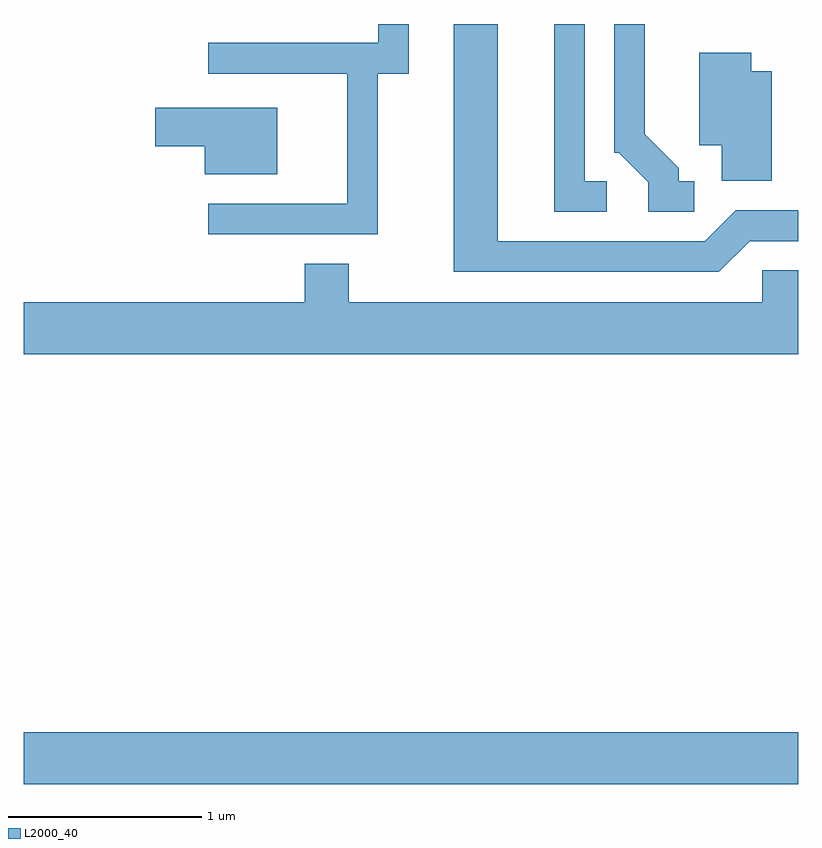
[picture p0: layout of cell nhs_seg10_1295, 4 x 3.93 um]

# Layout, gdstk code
import gdstk
lib = gdstk.Library(unit=1e-6, precision=1e-09)
def R(c, l, rs):  # rectangles x0, y0, x1, y1
    for r in rs: c.add(gdstk.rectangle(r[:2], r[2:], *l))
def P(c, l, *ps):  # polygons
    for p in ps: c.add(gdstk.Polygon(p, *l))
L2000_40 = (2000, 40)

nhs_seg10_1295 = lib.new_cell('nhs_seg10_1295')
R(nhs_seg10_1295, L2000_40, [(223.611,2100.596,227.611,2100.864)])
P(nhs_seg10_1295, L2000_40, [(227.362,2103.401),(227.611,2103.401),(227.611,2103.559),(227.289,2103.559),(227.129,2103.399),(226.059,2103.399),(226.059,2104.522),(225.831,2104.522),(225.831,2103.241),(227.202,2103.241)],
  [(225.439,2104.266),(225.599,2104.266),(225.599,2104.522),(225.441,2104.522),(225.441,2104.424),(224.563,2104.424),(224.563,2104.266),(225.281,2104.266),(225.281,2103.594),(224.563,2103.594),(224.563,2103.436),(225.439,2103.436)],
  [(226.623,2103.709),(226.509,2103.709),(226.509,2104.522),(226.351,2104.522),(226.351,2103.551),(226.623,2103.551)],
  [(227.073,2103.709),(226.994,2103.709),(226.994,2103.777),(226.819,2103.952),(226.819,2104.522),(226.661,2104.522),(226.661,2103.856),(226.684,2103.856),(226.836,2103.704),(226.836,2103.551),(227.073,2103.551)],
  [(227.474,2104.279),(227.369,2104.279),(227.369,2104.374),(227.101,2104.374),(227.101,2103.896),(227.216,2103.896),(227.216,2103.711),(227.474,2103.711)],
  [(224.919,2104.089),(224.291,2104.089),(224.291,2103.891),(224.546,2103.891),(224.546,2103.746),(224.919,2103.746)],
  [(227.611,2103.249),(227.426,2103.249),(227.426,2103.084),(225.289,2103.084),(225.289,2103.284),(225.061,2103.284),(225.061,2103.084),(223.611,2103.084),(223.611,2102.816),(227.611,2102.816)])

lib.write_gds('nhs_seg10_1295.gds')
